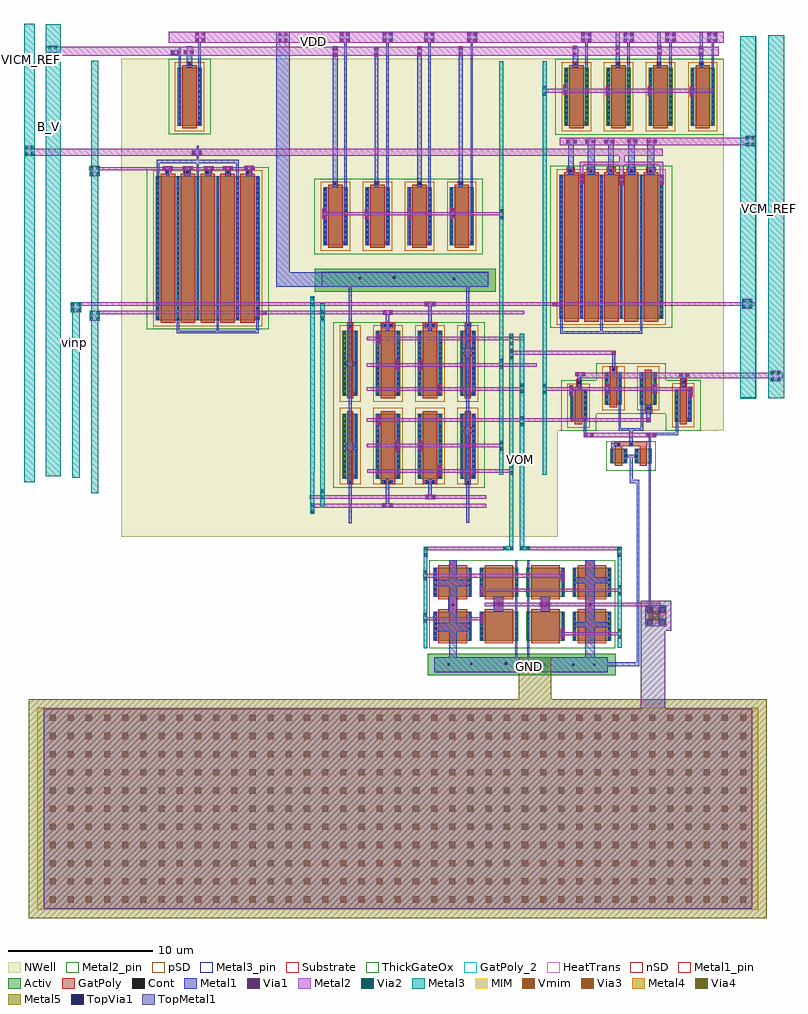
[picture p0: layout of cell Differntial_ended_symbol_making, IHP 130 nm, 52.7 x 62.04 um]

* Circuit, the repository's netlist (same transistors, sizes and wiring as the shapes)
* Extracted by KLayout with SG13G2 LVS runset on : 17/03/2026 11:29

.SUBCKT Differntial_ended_symbol_making GND vop VOM vinp vinm VDD VCM_REF
+ VICM_REF B_V
M$1 GND GND GND GND sg13_hv_nmos L=2u W=8u AS=2.72p AD=2.72p PS=18.72u PD=18.72u
M$2 vop \$2 GND GND sg13_hv_nmos L=2u W=4u AS=1.36p AD=1.36p PS=9.36u PD=9.36u
M$3 GND \$2 VOM GND sg13_hv_nmos L=2u W=4u AS=1.36p AD=1.36p PS=9.36u PD=9.36u
M$9 \$17 \$17 GND GND sg13_hv_nmos L=0.5u W=1u AS=0.34p AD=0.34p PS=2.68u
+ PD=2.68u
M$10 GND \$17 \$2 GND sg13_hv_nmos L=0.5u W=1u AS=0.34p AD=0.34p PS=2.68u
+ PD=2.68u
M$11 VDD VDD VDD VDD sg13_hv_pmos L=0.4u W=18u AS=6.12p AD=6.12p PS=38.72u
+ PD=38.72u
M$12 VOM vinp \$16 VDD sg13_hv_pmos L=1u W=9u AS=3.06p AD=3.06p PS=19.36u
+ PD=19.36u
M$13 \$16 vinm vop VDD sg13_hv_pmos L=1u W=9u AS=3.06p AD=3.06p PS=19.36u
+ PD=19.36u
M$15 \$24 VCM_REF \$2 VDD sg13_hv_pmos L=0.5u W=4.5u AS=1.53p AD=1.53p
+ PS=10.36u PD=10.36u
M$17 \$24 vop \$17 VDD sg13_hv_pmos L=0.5u W=2.25u AS=0.765p AD=0.765p PS=5.18u
+ PD=5.18u
M$18 \$17 VOM \$24 VDD sg13_hv_pmos L=0.5u W=2.25u AS=0.765p AD=0.765p PS=5.18u
+ PD=5.18u
M$23 \$16 B_V VDD VDD sg13_hv_pmos L=1u W=16u AS=5.44p AD=5.44p PS=34.72u
+ PD=34.72u
M$27 VICM_REF vinm vinm VDD sg13_hv_pmos L=1u W=50u AS=11p AD=11p PS=62.2u
+ PD=62.2u
M$32 vinp vinp VICM_REF VDD sg13_hv_pmos L=1u W=50u AS=11p AD=11p PS=62.2u
+ PD=62.2u
M$37 \$24 B_V VDD VDD sg13_hv_pmos L=1u W=16u AS=5.44p AD=5.44p PS=34.72u
+ PD=34.72u
M$41 B_V B_V VDD VDD sg13_hv_pmos L=1u W=4u AS=1.36p AD=1.36p PS=8.68u PD=8.68u
C$42 \$2 GND cap_cmim w=50u l=14u A=700p P=128u m=1
.ENDS Differntial_ended_symbol_making

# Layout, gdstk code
from math import pi, radians
import gdstk
lib = gdstk.Library(unit=1e-6, precision=1e-09)
def R(c, l, rs):  # rectangles x0, y0, x1, y1
    for r in rs: c.add(gdstk.rectangle(r[:2], r[2:], *l))
def A(c, l, x, y, w, h, nx, ny, dx, dy):  # array of equal rectangles
    R(c, l, [(x+i*dx, y+j*dy, x+i*dx+w, y+j*dy+h) for i in range(nx) for j in range(ny)])
def P(c, l, *ps):  # polygons
    for p in ps: c.add(gdstk.Polygon(p, *l))
Activ = (1, 0)
GatPoly = (5, 0)
GatPoly_2 = (5, 2)
Cont = (6, 0)
nSD = (7, 0)
Metal1 = (8, 0)
Metal1_pin = (8, 2)
Metal2 = (10, 0)
Metal2_pin = (10, 2)
pSD = (14, 0)
Via1 = (19, 0)
Via2 = (29, 0)
Metal3 = (30, 0)
Metal3_pin = (30, 2)
NWell = (31, 0)
MIM = (36, 0)
Substrate = (40, 0)
ThickGateOx = (44, 0)
Via3 = (49, 0)
Metal4 = (50, 0)
HeatTrans = (51, 0)
Via4 = (66, 0)
Metal5 = (67, 0)
TopVia1 = (125, 0)
TopMetal1 = (126, 0)
Vmim = (129, 0)

cmim_1 = lib.new_cell('cmim$1')
R(cmim_1, MIM, [(0,0,14,50)])
R(cmim_1, Metal5, [(-0.6,-0.6,14.6,50.6)])
R(cmim_1, TopMetal1, [(0.07,0.43,13.93,49.57)])
A(cmim_1, Vmim, 0.49, 0.85, 0.42, 0.42, 11, 39, 1.26, 1.26)

pmoshv_1 = lib.new_cell('pmosHV$1')
R(pmoshv_1, Activ, [(0,0,0.3,0.3), (0,0,1.68,4.5), (1.38,0,1.68,0.3)])
R(pmoshv_1, GatPoly, [(0.34,-0.18,1.34,4.68)])
R(pmoshv_1, GatPoly_2, [(0.34,-0.18,1.34,4.68)])
A(pmoshv_1, Cont, 0.07, 0.07, 0.16, 0.16, 1, 13, 0, 0.35)
A(pmoshv_1, Cont, 1.45, 0.07, 0.16, 0.16, 1, 13, 0, 0.35)
R(pmoshv_1, Metal1, [(0.07,0,0.23,4.5), (1.45,0,1.61,4.5)])
R(pmoshv_1, Metal1_pin, [(0.07,0,0.23,4.5), (1.45,0,1.61,4.5)])
R(pmoshv_1, pSD, [(-0.18,-0.4,1.86,4.9)])
R(pmoshv_1, NWell, [(-0.62,-0.62,2.3,5.12)])
R(pmoshv_1, Substrate, [(1.38,0,1.68,0.3)])
R(pmoshv_1, ThickGateOx, [(-0.62,-0.62,2.3,5.12)])
R(pmoshv_1, HeatTrans, [(0.34,-0.18,1.34,4.68)])
pmoshv_1.add(gdstk.Label('pmosHV', (0.84,2.25), layer=63, texttype=0))
pmoshv_1.add(gdstk.Label('pmos', (0.84,2.25), layer=51, texttype=0))

pmoshv = lib.new_cell('pmosHV')
R(pmoshv, Activ, [(0,0,0.3,0.3), (0,0,1.08,4.5), (0.78,0,1.08,0.3)])
R(pmoshv, GatPoly, [(0.34,-0.18,0.74,4.68)])
R(pmoshv, GatPoly_2, [(0.34,-0.18,0.74,4.68)])
A(pmoshv, Cont, 0.07, 0.07, 0.16, 0.16, 1, 13, 0, 0.35)
A(pmoshv, Cont, 0.85, 0.07, 0.16, 0.16, 1, 13, 0, 0.35)
R(pmoshv, Metal1, [(0.07,0,0.23,4.5), (0.85,0,1.01,4.5)])
R(pmoshv, Metal1_pin, [(0.07,0,0.23,4.5), (0.85,0,1.01,4.5)])
R(pmoshv, pSD, [(-0.18,-0.4,1.26,4.9)])
R(pmoshv, NWell, [(-0.62,-0.62,1.7,5.12)])
R(pmoshv, Substrate, [(0.78,0,1.08,0.3)])
R(pmoshv, ThickGateOx, [(-0.62,-0.62,1.7,5.12)])
R(pmoshv, HeatTrans, [(0.34,-0.18,0.74,4.68)])
pmoshv.add(gdstk.Label('pmosHV', (0.54,2.25), layer=63, texttype=0))
pmoshv.add(gdstk.Label('pmos', (0.54,2.25), layer=51, texttype=0))

via_stack = lib.new_cell('via_stack')
R(via_stack, Metal1, [(-0.145,-0.35,0.145,0.35)])
R(via_stack, Metal2, [(-0.145,-0.35,0.145,0.35)])
R(via_stack, Via1, [(-0.095,-0.3,0.095,-0.11), (-0.095,0.11,0.095,0.3)])

pmoshv_4 = lib.new_cell('pmosHV$4')
R(pmoshv_4, Activ, [(0,0,0.3,0.3), (0,0,1.68,4), (1.38,0,1.68,0.3)])
R(pmoshv_4, GatPoly, [(0.34,-0.18,1.34,4.18)])
R(pmoshv_4, GatPoly_2, [(0.34,-0.18,1.34,4.18)])
A(pmoshv_4, Cont, 0.07, 0.07, 0.16, 0.16, 1, 11, 0, 0.37)
A(pmoshv_4, Cont, 1.45, 0.07, 0.16, 0.16, 1, 11, 0, 0.37)
R(pmoshv_4, Metal1, [(0.07,0,0.23,4), (1.45,0,1.61,4)])
R(pmoshv_4, Metal1_pin, [(0.07,0,0.23,4), (1.45,0,1.61,4)])
R(pmoshv_4, pSD, [(-0.18,-0.4,1.86,4.4)])
R(pmoshv_4, NWell, [(-0.62,-0.62,2.3,4.62)])
R(pmoshv_4, Substrate, [(1.38,0,1.68,0.3)])
R(pmoshv_4, ThickGateOx, [(-0.62,-0.62,2.3,4.62)])
R(pmoshv_4, HeatTrans, [(0.34,-0.18,1.34,4.18)])
pmoshv_4.add(gdstk.Label('pmosHV', (0.84,2), layer=63, texttype=0))
pmoshv_4.add(gdstk.Label('pmos', (0.84,2), layer=51, texttype=0))

via_stack_1 = lib.new_cell('via_stack$1')
R(via_stack_1, Metal2, [(-0.145,-0.35,0.145,0.35)])
R(via_stack_1, Via2, [(-0.095,-0.3,0.095,-0.11), (-0.095,0.11,0.095,0.3)])
R(via_stack_1, Metal3, [(-0.145,-0.35,0.145,0.35)])

via_stack_6 = lib.new_cell('via_stack$6')
R(via_stack_6, Metal1, [(-0.145,-0.145,0.145,0.145)])
R(via_stack_6, Metal2, [(-0.145,-0.145,0.145,0.145)])
R(via_stack_6, Via1, [(-0.095,-0.095,0.095,0.095)])

pmoshv_3 = lib.new_cell('pmosHV$3')
R(pmoshv_3, Activ, [(0,0,0.3,0.3), (0,0,1.18,2.25), (0.88,0,1.18,0.3)])
R(pmoshv_3, GatPoly, [(0.34,-0.18,0.84,2.43)])
R(pmoshv_3, GatPoly_2, [(0.34,-0.18,0.84,2.43)])
A(pmoshv_3, Cont, 0.07, 0.07, 0.16, 0.16, 1, 6, 0, 0.39)
A(pmoshv_3, Cont, 0.95, 0.07, 0.16, 0.16, 1, 6, 0, 0.39)
R(pmoshv_3, Metal1, [(0.07,0,0.23,2.25), (0.95,0,1.11,2.25)])
R(pmoshv_3, Metal1_pin, [(0.07,0,0.23,2.25), (0.95,0,1.11,2.25)])
R(pmoshv_3, pSD, [(-0.18,-0.4,1.36,2.65)])
R(pmoshv_3, NWell, [(-0.62,-0.62,1.8,2.87)])
R(pmoshv_3, Substrate, [(0.88,0,1.18,0.3)])
R(pmoshv_3, ThickGateOx, [(-0.62,-0.62,1.8,2.87)])
R(pmoshv_3, HeatTrans, [(0.34,-0.18,0.84,2.43)])
pmoshv_3.add(gdstk.Label('pmosHV', (0.59,1.125), layer=63, texttype=0))
pmoshv_3.add(gdstk.Label('pmos', (0.59,1.125), layer=51, texttype=0))

nmoshv_2 = lib.new_cell('nmosHV$2')
R(nmoshv_2, Activ, [(0,0,0.3,0.3), (0,0,1.18,1), (0.88,0,1.18,0.3)])
R(nmoshv_2, GatPoly, [(0.34,-0.18,0.84,1.18)])
R(nmoshv_2, GatPoly_2, [(0.34,-0.18,0.84,1.18)])
A(nmoshv_2, Cont, 0.07, 0.07, 0.16, 0.16, 1, 3, 0, 0.35)
A(nmoshv_2, Cont, 0.95, 0.07, 0.16, 0.16, 1, 3, 0, 0.35)
R(nmoshv_2, Metal1, [(0.07,0,0.23,1), (0.95,0,1.11,1)])
R(nmoshv_2, Metal1_pin, [(0.07,0,0.23,1), (0.95,0,1.11,1)])
R(nmoshv_2, ThickGateOx, [(-0.27,-0.52,1.45,1.52)])
R(nmoshv_2, HeatTrans, [(0.34,-0.18,0.84,1.18)])
nmoshv_2.add(gdstk.Label('nmosHV', (0.59,0.5), layer=63, texttype=0))
nmoshv_2.add(gdstk.Label('nmosHV', (0.59,0.5), layer=51, texttype=0))

via_stack_7 = lib.new_cell('via_stack$7')
R(via_stack_7, Metal1, [(-0.35,-0.35,0.35,0.35)])
R(via_stack_7, Metal2, [(-0.35,-0.35,0.35,0.35)])
R(via_stack_7, Via1, [(-0.3,-0.3,-0.11,-0.11), (0.11,-0.3,0.3,-0.11), (-0.3,0.11,-0.11,0.3), (0.11,0.11,0.3,0.3)])

via_stack_8 = lib.new_cell('via_stack$8')
R(via_stack_8, Metal2, [(-0.35,-0.35,0.35,0.35)])
R(via_stack_8, Via2, [(-0.3,-0.3,-0.11,-0.11), (0.11,-0.3,0.3,-0.11), (-0.3,0.11,-0.11,0.3), (0.11,0.11,0.3,0.3)])
R(via_stack_8, Metal3, [(-0.35,-0.35,0.35,0.35)])

via_stack_2 = lib.new_cell('via_stack$2')
R(via_stack_2, Metal1, [(-0.35,-0.145,0.35,0.145)])
R(via_stack_2, Metal2, [(-0.35,-0.145,0.35,0.145)])
R(via_stack_2, Via1, [(-0.3,-0.095,-0.11,0.095), (0.11,-0.095,0.3,0.095)])

pmoshv_6 = lib.new_cell('pmosHV$6')
A(pmoshv_6, Activ, 0, 0, 0.3, 0.3, 6, 1, 1.38, 0)
R(pmoshv_6, Activ, [(0,0,7.2,10)])
A(pmoshv_6, GatPoly, 0.34, -0.18, 1, 10.36, 5, 1, 1.38, 0)
R(pmoshv_6, GatPoly_2, [(0.34,-0.18,1.34,10.18)])
A(pmoshv_6, Cont, 0.07, 0.07, 0.16, 0.16, 6, 4, 1.38, 0.345)
A(pmoshv_6, Cont, 0.07, 1.455, 0.16, 0.16, 6, 3, 1.38, 0.345)
A(pmoshv_6, Cont, 0.07, 2.495, 0.16, 0.16, 6, 4, 1.38, 0.345)
A(pmoshv_6, Cont, 0.07, 3.88, 0.16, 0.16, 6, 3, 1.38, 0.345)
A(pmoshv_6, Cont, 0.07, 4.92, 0.16, 0.16, 6, 4, 1.38, 0.345)
A(pmoshv_6, Cont, 0.07, 6.305, 0.16, 0.16, 6, 3, 1.38, 0.345)
A(pmoshv_6, Cont, 0.07, 7.345, 0.16, 0.16, 6, 4, 1.38, 0.345)
A(pmoshv_6, Cont, 0.07, 8.73, 0.16, 0.16, 6, 3, 1.38, 0.345)
A(pmoshv_6, Cont, 0.07, 9.77, 0.16, 0.16, 6, 1, 1.38, 0)
A(pmoshv_6, Metal1, 0.07, 0, 0.16, 10, 6, 1, 1.38, 0)
R(pmoshv_6, Metal1_pin, [(0.07,0,0.23,10), (1.45,0,1.61,10)])
R(pmoshv_6, pSD, [(-0.18,-0.4,7.38,10.4)])
R(pmoshv_6, NWell, [(-0.62,-0.62,7.82,10.62)])
R(pmoshv_6, Substrate, [(6.9,0,7.2,0.3)])
R(pmoshv_6, ThickGateOx, [(-0.62,-0.62,7.82,10.62)])
A(pmoshv_6, HeatTrans, 0.34, -0.18, 1, 10.36, 5, 1, 1.38, 0)
pmoshv_6.add(gdstk.Label('pmosHV', (0.84,5), layer=63, texttype=0))
pmoshv_6.add(gdstk.Label('pmos', (0.84,5), layer=51, texttype=0))
pmoshv_6.add(gdstk.Label('pmos', (2.22,5), layer=51, texttype=0))
pmoshv_6.add(gdstk.Label('pmos', (3.6,5), layer=51, texttype=0))
pmoshv_6.add(gdstk.Label('pmos', (4.98,5), layer=51, texttype=0))
pmoshv_6.add(gdstk.Label('pmos', (6.36,5), layer=51, texttype=0))

via_stack_4 = lib.new_cell('via_stack$4')
R(via_stack_4, Metal2, [(-0.35,-0.145,0.35,0.145)])
R(via_stack_4, Via2, [(-0.3,-0.095,-0.11,0.095), (0.11,-0.095,0.3,0.095)])
R(via_stack_4, Metal3, [(-0.35,-0.145,0.35,0.145)])

nmoshv = lib.new_cell('nmosHV')
R(nmoshv, Activ, [(0,0,0.3,0.3), (0,0,2.68,2), (2.38,0,2.68,0.3)])
R(nmoshv, GatPoly, [(0.34,-0.18,2.34,2.18)])
R(nmoshv, GatPoly_2, [(0.34,-0.18,2.34,2.18)])
A(nmoshv, Cont, 0.07, 0.07, 0.16, 0.16, 1, 6, 0, 0.34)
A(nmoshv, Cont, 2.45, 0.07, 0.16, 0.16, 1, 6, 0, 0.34)
R(nmoshv, Metal1, [(0.07,0,0.23,2), (2.45,0,2.61,2)])
R(nmoshv, Metal1_pin, [(0.07,0,0.23,2), (2.45,0,2.61,2)])
R(nmoshv, ThickGateOx, [(-0.27,-0.52,2.95,2.52)])
R(nmoshv, HeatTrans, [(0.34,-0.18,2.34,2.18)])
nmoshv.add(gdstk.Label('nmosHV', (1.34,1), layer=63, texttype=0))
nmoshv.add(gdstk.Label('nmosHV', (1.34,1), layer=51, texttype=0))

via_stack_10 = lib.new_cell('via_stack$10')
R(via_stack_10, Metal1, [(-0.35,-0.35,0.35,0.35)])
R(via_stack_10, Metal2, [(-0.35,-0.35,0.35,0.35)])
R(via_stack_10, Via1, [(-0.3,-0.3,-0.11,-0.11), (0.11,-0.3,0.3,-0.11), (-0.3,0.11,-0.11,0.3), (0.11,0.11,0.3,0.3)])
R(via_stack_10, Via2, [(-0.3,-0.3,-0.11,-0.11), (0.11,-0.3,0.3,-0.11), (-0.3,0.11,-0.11,0.3), (0.11,0.11,0.3,0.3)])
R(via_stack_10, Metal3, [(-0.35,-0.35,0.35,0.35)])
R(via_stack_10, Via3, [(-0.3,-0.3,-0.11,-0.11), (0.11,-0.3,0.3,-0.11), (-0.3,0.11,-0.11,0.3), (0.11,0.11,0.3,0.3)])
R(via_stack_10, Metal4, [(-0.35,-0.35,0.35,0.35)])
R(via_stack_10, Via4, [(-0.3,-0.3,-0.11,-0.11), (0.11,-0.3,0.3,-0.11), (-0.3,0.11,-0.11,0.3), (0.11,0.11,0.3,0.3)])
R(via_stack_10, Metal5, [(-0.73,-0.73,0.73,0.73), (-0.35,-0.35,0.35,0.35)])
R(via_stack_10, TopVia1, [(-0.63,-0.63,-0.21,-0.21), (0.21,-0.63,0.63,-0.21), (-0.63,0.21,-0.21,0.63), (0.21,0.21,0.63,0.63)])
R(via_stack_10, TopMetal1, [(-1.05,-1.05,1.05,1.05)])

via_stack_9 = lib.new_cell('via_stack$9')
R(via_stack_9, Metal1, [(-0.35,-0.35,0.35,0.35)])
R(via_stack_9, Metal2, [(-0.35,-0.35,0.35,0.35)])
R(via_stack_9, Via1, [(-0.3,-0.3,-0.11,-0.11), (0.11,-0.3,0.3,-0.11), (-0.3,0.11,-0.11,0.3), (0.11,0.11,0.3,0.3)])
R(via_stack_9, Via2, [(-0.3,-0.3,-0.11,-0.11), (0.11,-0.3,0.3,-0.11), (-0.3,0.11,-0.11,0.3), (0.11,0.11,0.3,0.3)])
R(via_stack_9, Metal3, [(-0.35,-0.35,0.35,0.35)])
R(via_stack_9, Via3, [(-0.3,-0.3,-0.11,-0.11), (0.11,-0.3,0.3,-0.11), (-0.3,0.11,-0.11,0.3), (0.11,0.11,0.3,0.3)])
R(via_stack_9, Metal4, [(-0.35,-0.35,0.35,0.35)])
R(via_stack_9, Via4, [(-0.3,-0.3,-0.11,-0.11), (0.11,-0.3,0.3,-0.11), (-0.3,0.11,-0.11,0.3), (0.11,0.11,0.3,0.3)])
R(via_stack_9, Metal5, [(-0.35,-0.35,0.35,0.35)])

differntial_ended_symbol = lib.new_cell('Differntial_ended_symbol_making')
R(differntial_ended_symbol, Activ, [(293.705,302.975,306.745,304.49), (285.895,329.575,298.435,331.195)])
R(differntial_ended_symbol, GatPoly, [(295.155,307.385,295.775,308.285), (304.685,307.39,305.305,308.315), (301.57,307.395,302.19,308.255), (298.3,307.575,298.945,308.255), (295.195,310.535,295.72,310.955), (304.65,310.57,305.29,310.95), (296.3,316.185,296.7,316.445), (288.14,316.225,288.54,316.445), (290.46,316.225,291.46,316.445), (293.38,316.225,294.38,316.445), (306.7,318.87,308.925,319.11), (306.7,319.105,308.925,319.21), (307.69,319.11,307.93,319.21), (308.77,321.135,309.275,321.63), (304.035,322.99,304.405,323.505), (304.06,322.99,304.385,323.43), (311.245,323.01,311.665,323.45), (311.245,323.375,311.665,323.535), (306.35,324.055,306.85,324.405), (288.14,327.045,288.54,327.48), (290.46,327.045,291.46,327.485), (293.38,327.045,294.38,327.485), (296.3,327.045,296.7,327.485), (287.14,336.995,287.475,337.255), (292.975,336.995,293.32,337.255), (295.805,336.995,296.185,337.245), (279.675,337.775,280.07,338.01), (275.52,337.78,275.92,338.065), (276.775,337.78,277.295,338.025), (278.245,337.78,278.775,338.03), (281.095,337.78,281.47,338.045), (307.53,337.87,308.14,338.22), (303.35,337.875,303.91,338.225), (304.745,337.875,305.33,338.23), (306.12,337.875,306.745,338.25), (308.855,337.875,309.53,338.2), (303.765,345.285,304.165,345.545), (306.745,345.285,307.06,345.525), (309.59,345.285,309.905,345.525), (277.015,345.29,277.395,345.54)])
P(differntial_ended_symbol, GatPoly, [(312.57,345.28),(312.57,345.285),(312.535,345.285),(312.535,345.525),(312.845,345.525),(312.845,345.285),(312.79,345.285),(312.79,345.28)],
  [(290.03,336.815),(290.03,336.995),(290.015,336.995),(290.015,337.25),(290.35,337.25),(290.35,336.995),(290.085,336.995),(290.085,336.815)])
R(differntial_ended_symbol, Cont, [(301.74,303.635,301.9,303.795), (305.19,303.635,305.35,303.795), (303.73,303.64,303.89,303.8), (295.09,303.66,295.25,303.82), (296.66,303.705,296.82,303.865), (299.075,303.715,299.235,303.875), (295.375,307.795,295.535,307.955), (304.905,307.8,305.065,307.96), (301.79,307.805,301.95,307.965), (298.55,307.865,298.71,308.025), (296.41,316.265,296.57,316.425), (296.41,316.265,296.57,316.425), (296.41,316.265,296.57,316.425), (296.41,316.265,296.57,316.425), (293.63,316.315,293.79,316.475), (293.63,316.315,293.79,316.475), (293.985,316.315,294.145,316.475), (293.985,316.315,294.145,316.475), (288.25,316.32,288.41,316.48), (288.25,316.32,288.41,316.48), (288.25,316.32,288.41,316.48), (288.25,316.32,288.41,316.48), (290.675,316.32,290.835,316.48), (291.03,316.32,291.19,316.48), (306.85,318.915,307.01,319.075), (307.735,318.95,307.895,319.11), (308.94,321.425,309.1,321.585), (304.135,323.21,304.295,323.37), (311.4,323.23,311.56,323.39), (306.53,324.155,306.69,324.315), (288.245,327.135,288.405,327.295), (288.245,327.135,288.405,327.295), (288.245,327.135,288.405,327.295), (288.245,327.135,288.405,327.295), (290.695,327.175,290.855,327.335), (290.695,327.175,290.855,327.335), (291.05,327.175,291.21,327.335), (291.05,327.175,291.21,327.335), (293.635,327.175,293.795,327.335), (293.635,327.175,293.795,327.335), (293.99,327.175,294.15,327.335), (293.99,327.175,294.15,327.335), (296.42,327.18,296.58,327.34), (295.455,330.395,295.615,330.555), (288.92,330.44,289.08,330.6), (291.3,330.495,291.46,330.655), (287.21,336.99,287.37,337.15), (290.09,337,290.25,337.16), (293.06,337,293.22,337.16), (295.915,337.005,296.075,337.165), (278.385,337.78,278.545,337.94), (279.78,337.78,279.94,337.94), (281.185,337.78,281.345,337.94), (276.97,337.785,277.13,337.945), (275.61,337.79,275.77,337.95), (303.535,337.87,303.695,338.03), (304.955,337.875,305.115,338.035), (306.335,337.88,306.495,338.04), (307.765,337.88,307.925,338.04), (309.095,337.88,309.255,338.04), (309.095,337.88,309.255,338.04), (303.88,345.285,304.04,345.445), (309.67,345.285,309.83,345.445), (312.61,345.285,312.77,345.445), (306.82,345.29,306.98,345.45), (277.115,345.295,277.275,345.455)])
R(differntial_ended_symbol, nSD, [(286.365,329.93,297.91,330.965)])
R(differntial_ended_symbol, Metal1, [(295.155,307.385,295.775,308.43), (304.685,307.39,305.305,308.435), (301.57,307.395,302.19,308.44), (298.3,307.4,298.945,308.435), (290.8,314.695,291.05,316.625), (293.76,315.205,294.01,316.625), (293.495,316.27,294.245,316.515), (293.495,316.27,294.245,316.515), (290.54,316.275,291.29,316.52), (304.54,319.655,304.7,320.56), (308.88,320.57,309.175,321.755), (304.095,322.81,304.325,323.97), (311.345,323.01,311.6,323.97), (306.5,324.055,306.725,325.485), (290.81,326.865,291.06,328.285), (293.75,326.865,294,328.795), (290.56,327.13,291.31,327.375), (290.56,327.13,291.31,327.375), (293.5,327.13,294.25,327.375), (293.5,327.13,294.25,327.375), (290.85,336.57,291.01,347.585), (293.765,336.585,293.925,347.6), (296.685,336.585,296.845,347.6), (287.925,336.59,288.085,347.605), (287.14,336.815,287.475,346.595), (290.05,336.815,290.275,346.59), (292.975,336.815,293.32,346.59), (295.855,336.82,296.13,346.585), (281.12,337.595,281.55,338.215), (275.6,337.6,275.775,338.155), (276.85,337.6,277.24,338.18), (278.32,337.6,278.695,338.17), (279.68,337.6,280.045,338.185), (303.45,337.695,303.83,340.265), (304.825,337.695,305.285,340.25), (306.245,337.695,306.635,340.265), (307.615,337.695,308.075,340.26), (308.93,337.695,309.42,340.25), (307.56,343.765,307.72,347.6), (304.64,344.295,304.8,347.6), (277.815,344.51,277.975,347.6), (313.41,344.515,313.57,347.6), (276.435,344.88,276.595,346.59), (310.48,345.035,310.64,347.6), (277.015,345.105,277.395,346.595), (303.765,345.105,304.165,346.575), (306.765,345.105,307.025,347.6), (312.57,345.105,312.79,345.375), (309.63,345.11,309.885,347.595), (312.57,345.28,312.79,347.595)])
P(differntial_ended_symbol, Metal1, [(309.03,318.46),(309.03,319.79),(310.92,319.79),(310.92,320.81),(311.08,320.81),(311.08,319.625),(309.19,319.625),(309.19,318.46)],
  [(307.69,318.87),(307.69,319.94),(306.96,319.94),(306.96,324.005),(307.12,324.005),(307.12,320.12),(308.5,320.12),(308.5,324.005),(308.66,324.005),(308.66,319.94),(307.93,319.94),(307.93,318.87)],
  [(302.92,326.66),(302.92,328.11),(303.08,328.11),(303.08,326.855),(305.68,326.855),(305.68,327.925),(305.84,327.925),(305.84,326.855),(308.44,326.855),(308.44,327.925),(308.6,327.925),(308.6,326.66)],
  [(276.315,326.7),(276.315,327.83),(276.475,327.83),(276.475,326.875),(279.075,326.875),(279.075,327.83),(279.235,327.83),(279.235,326.875),(281.835,326.875),(281.835,327.83),(281.995,327.83),(281.995,326.7)],
  [(288.235,313.545),(288.235,318.64),(287.875,318.64),(287.875,319.045),(288.235,319.045),(288.235,324.465),(287.87,324.465),(287.87,324.765),(288.235,324.765),(288.235,329.915),(283.22,329.915),(283.22,347.6),(284.135,347.6),(284.135,330.95),(297.925,330.95),(297.925,329.915),(296.595,329.915),(296.595,327.39),(296.725,327.39),(296.725,327.145),(296.595,327.145),(296.595,325.67),(296.945,325.67),(296.945,325.155),(296.595,325.155),(296.595,320.175),(296.905,320.175),(296.905,319.76),(296.595,319.76),(296.595,316.465),(296.7,316.465),(296.7,316.22),(296.595,316.22),(296.595,313.55),(296.395,313.55),(296.395,316.22),(296.3,316.22),(296.3,316.465),(296.395,316.465),(296.395,319.76),(296.05,319.76),(296.05,320.175),(296.395,320.175),(296.395,325.155),(296.065,325.155),(296.065,325.67),(296.395,325.67),(296.395,327.145),(296.28,327.145),(296.28,327.39),(296.395,327.39),(296.395,329.915),(288.435,329.915),(288.435,324.765),(288.81,324.765),(288.81,324.465),(288.435,324.465),(288.435,319.045),(288.765,319.045),(288.765,318.64),(288.435,318.64),(288.435,313.545)],
  [(306.43,318.46),(306.43,319.105),(307.075,319.105),(307.075,318.88),(306.59,318.88),(306.59,318.46)],
  [(277.695,337.18),(277.695,338.49),(275.095,338.49),(275.095,337.37),(274.935,337.37),(274.935,338.725),(277.695,338.725),(277.695,339.695),(277.855,339.695),(277.855,338.725),(280.61,338.725),(280.61,338.67),(280.615,338.67),(280.615,337.53),(280.455,337.53),(280.455,338.49),(277.855,338.49),(277.855,337.18)],
  [(309.03,306.77),(309.03,317.76),(309.19,317.76),(309.19,307.47),(309.215,307.47),(309.215,306.77)],
  [(294.165,303.21),(294.165,304.24),(295.195,304.24),(295.195,306.035),(294.205,306.035),(294.205,306.625),(295.195,306.625),(295.195,309.15),(294.175,309.15),(294.175,309.61),(295.195,309.61),(295.195,310.955),(295.72,310.955),(295.72,309.61),(296.62,309.61),(296.62,309.15),(295.72,309.15),(295.72,306.625),(296.62,306.625),(296.62,306.035),(295.72,306.035),(295.72,304.24),(299.775,304.24),(299.775,310.955),(299.935,310.955),(299.935,304.24),(300.615,304.24),(300.615,310.955),(300.775,310.955),(300.775,304.24),(304.65,304.24),(304.65,306.32),(303.93,306.32),(303.93,306.67),(304.65,306.67),(304.65,309.38),(303.9,309.38),(303.9,309.795),(304.65,309.795),(304.65,310.95),(305.29,310.95),(305.29,309.795),(306.34,309.795),(306.34,309.38),(305.29,309.38),(305.29,306.67),(306.32,306.67),(306.32,306.32),(305.29,306.32),(305.29,304.24),(306.215,304.24),(306.215,303.9),(308.225,303.9),(308.225,316.31),(307.715,316.31),(307.715,318.11),(307.31,318.11),(307.31,318.27),(308.31,318.27),(308.31,318.11),(307.935,318.11),(307.935,316.53),(308.4,316.53),(308.4,303.6),(306.215,303.6),(306.215,303.21)])
P(differntial_ended_symbol, Metal1_pin, [(309.03,306.77),(309.03,319.795),(309.19,319.795),(309.19,319.79),(310.92,319.79),(310.92,322.21),(311.08,322.21),(311.08,319.625),(309.19,319.625),(309.19,306.77)],
  [(294.165,303.21),(294.165,304.24),(295.195,304.24),(295.195,310.955),(295.72,310.955),(295.72,304.24),(299.775,304.24),(299.775,310.955),(299.935,310.955),(299.935,304.24),(300.615,304.24),(300.615,310.955),(300.775,310.955),(300.775,304.24),(306.215,304.24),(306.215,303.9),(308.225,303.9),(308.225,316.31),(307.715,316.31),(307.715,318.11),(307.31,318.11),(307.31,318.27),(308.31,318.27),(308.31,318.11),(307.935,318.11),(307.935,316.53),(308.4,316.53),(308.4,303.6),(306.215,303.6),(306.215,303.21)])
R(differntial_ended_symbol, Metal2, [(302.995,305.76,307.165,305.96), (293.435,306.8,297.555,307.01), (297.395,308.79,307.165,309), (293.435,309.75,303.155,310.02), (293.435,311.66,299.665,311.905), (300.095,311.66,307.165,311.905), (285.555,314.62,297.785,314.87), (285.55,315.225,297.78,315.475), (289.51,317.03,299.665,317.28), (289.5,318.795,298.955,319.045), (304.54,319.505,309.515,319.795), (289.495,320.57,309.175,320.82), (289.485,322.72,300.395,322.97), (301.705,322.72,311.96,322.97), (289.505,324.37,301.28,324.62), (299.365,325.225,306.725,325.485), (289.5,326.22,300.395,326.47), (270.325,328.02,300.395,328.27), (286.545,334.895,298.94,335.105), (270.245,338,281.71,338.22), (302.865,339.76,316.48,340.26), (301.705,343.37,313.57,343.645), (267.225,345.96,313.91,346.59), (275.745,346.865,314.245,347.6)])
P(differntial_ended_symbol, Metal2, [(304.3,337.465),(304.3,337.765),(304.265,337.765),(304.265,338.595),(307,338.595),(307,339),(265.72,339),(265.72,339.485),(310.02,339.485),(310.02,339),(307.375,339),(307.375,338.595),(310.04,338.595),(310.04,337.465),(309.82,337.465),(309.82,338.385),(307.3,338.385),(307.3,337.665),(307.22,337.665),(307.22,337.465),(307.06,337.465),(307.06,337.665),(307.01,337.665),(307.01,338.385),(304.5,338.385),(304.5,337.765),(304.46,337.765),(304.46,337.465)],
  [(304.095,323.58),(304.095,323.97),(318.345,323.97),(318.345,323.585),(316.48,323.585),(316.48,323.58)],
  [(309.185,306.77),(309.185,307.785),(297.67,307.785),(297.67,308.03),(309.895,308.03),(309.895,306.77)],
  [(269.055,328.605),(269.055,328.855),(316.49,328.855),(316.49,328.61),(297.835,328.61),(297.835,328.605)])
R(differntial_ended_symbol, Metal2_pin, [(267.225,345.96,313.91,346.59), (275.745,346.865,314.245,347.6)])
R(differntial_ended_symbol, pSD, [(294.165,303.21,306.215,304.24)])
R(differntial_ended_symbol, Metal3, [(293.435,304.87,293.68,311.905), (306.91,304.885,307.165,311.905), (299.365,311.66,299.665,326.675), (300.095,311.66,300.395,326.675), (286.28,314.695,286.58,328.79), (270.37,315.6,270.885,345.605), (269.055,316.675,269.57,328.855), (267.23,316.795,268.255,348.13), (298.69,316.895,298.94,345.58), (301.705,316.895,301.955,345.575), (315.385,322.15,316.49,347.31), (317.32,322.195,318.425,347.355)])
P(differntial_ended_symbol, Metal3, [(285.57,314.695),(285.57,328.79),(285.87,328.79),(285.87,317.145),(285.865,317.145),(285.865,314.695)],
  [(265.72,316.365),(265.72,348.17),(266.46,348.17),(266.46,332.155),(266.45,332.155),(266.45,316.365)])
R(differntial_ended_symbol, Metal3_pin, [(270.37,315.6,270.885,345.605), (269.055,316.675,269.57,328.855), (267.23,316.795,268.255,348.13), (317.32,322.195,318.425,347.355), (315.39,322.235,316.47,347.31)])
P(differntial_ended_symbol, NWell, [(272.48,312.595),(272.48,345.735),(314.26,345.735),(314.26,319.95),(313.73,319.95),(313.73,319.94),(302.74,319.94),(302.74,312.595)])
R(differntial_ended_symbol, Metal5, [(300.025,301.335,302.28,304.24)])
R(differntial_ended_symbol, TopMetal1, [(308.495,300.665,310.195,308.17)])
differntial_ended_symbol.add(gdstk.Reference(cmim_1, (316.645,286.735), rotation=pi/2))
differntial_ended_symbol.add(gdstk.Reference(pmoshv_1, (293.04,316.625)))
differntial_ended_symbol.add(gdstk.Reference(pmoshv, (295.96,316.625)))
differntial_ended_symbol.add(gdstk.Reference(via_stack, (294.57,317.215)))
differntial_ended_symbol.add(gdstk.Reference(pmoshv, (287.8,316.625)))
differntial_ended_symbol.add(gdstk.Reference(pmoshv_1, (290.12,316.625)))
differntial_ended_symbol.add(gdstk.Reference(pmoshv_4, (292.315,332.815)))
differntial_ended_symbol.add(gdstk.Reference(pmoshv_1, (290.12,322.365)))
differntial_ended_symbol.add(gdstk.Reference(via_stack, (303.675,322.735)))
differntial_ended_symbol.add(gdstk.Reference(via_stack, (306.145,322.84)))
differntial_ended_symbol.add(gdstk.Reference(via_stack, (311.505,323.82), rotation=pi/2))
differntial_ended_symbol.add(gdstk.Reference(via_stack_1, (301.835,322.845)))
differntial_ended_symbol.add(gdstk.Reference(via_stack_6, (306.615,325.355)))
differntial_ended_symbol.add(gdstk.Reference(via_stack_6, (309.03,320.685)))
differntial_ended_symbol.add(gdstk.Reference(pmoshv_3, (306.01,321.755)))
differntial_ended_symbol.add(gdstk.Reference(nmoshv_2, (308.08,317.69)))
differntial_ended_symbol.add(gdstk.Reference(nmoshv_2, (306.36,317.69)))
differntial_ended_symbol.add(gdstk.Reference(pmoshv_3, (303.59,320.56)))
differntial_ended_symbol.add(gdstk.Reference(pmoshv_3, (310.85,320.58)))
differntial_ended_symbol.add(gdstk.Reference(pmoshv_3, (308.43,321.755)))
differntial_ended_symbol.add(gdstk.Reference(via_stack_1, (300.24,322.89)))
differntial_ended_symbol.add(gdstk.Reference(via_stack_1, (300.245,320.595)))
differntial_ended_symbol.add(gdstk.Reference(via_stack_1, (299.51,317.255)))
differntial_ended_symbol.add(gdstk.Reference(via_stack_1, (299.51,325.235)))
differntial_ended_symbol.add(gdstk.Reference(via_stack, (311.945,322.645)))
differntial_ended_symbol.add(gdstk.Reference(via_stack, (293.19,318.915)))
differntial_ended_symbol.add(gdstk.Reference(via_stack_1, (298.81,318.905)))
differntial_ended_symbol.add(gdstk.Reference(via_stack, (293.19,324.535)))
differntial_ended_symbol.add(gdstk.Reference(via_stack_1, (298.81,324.585)))
differntial_ended_symbol.add(gdstk.Reference(via_stack, (304.305,323.86), rotation=pi/2))
differntial_ended_symbol.add(gdstk.Reference(via_stack, (309.22,319.65), rotation=pi/2))
differntial_ended_symbol.add(gdstk.Reference(pmoshv, (295.96,322.365)))
differntial_ended_symbol.add(gdstk.Reference(via_stack_7, (315.875,328.765), rotation=pi/2))
differntial_ended_symbol.add(gdstk.Reference(via_stack_8, (315.875,328.76), rotation=pi/2))
differntial_ended_symbol.add(gdstk.Reference(pmoshv_4, (306.11,341.105)))
differntial_ended_symbol.add(gdstk.Reference(via_stack, (292.44,335.005)))
differntial_ended_symbol.add(gdstk.Reference(via_stack_2, (309.245,340.01)))
differntial_ended_symbol.add(gdstk.Reference(via_stack_2, (307.9,340.02)))
differntial_ended_symbol.add(gdstk.Reference(via_stack, (304.4,337.415)))
differntial_ended_symbol.add(gdstk.Reference(via_stack_2, (306.31,339.98)))
differntial_ended_symbol.add(gdstk.Reference(via_stack, (307.155,337.32)))
differntial_ended_symbol.add(gdstk.Reference(via_stack_2, (305,340.005)))
differntial_ended_symbol.add(gdstk.Reference(via_stack, (309.925,337.34)))
differntial_ended_symbol.add(gdstk.Reference(via_stack_2, (303.69,339.99)))
differntial_ended_symbol.add(gdstk.Reference(pmoshv_4, (311.95,341.105)))
differntial_ended_symbol.add(gdstk.Reference(pmoshv_4, (303.19,341.105)))
differntial_ended_symbol.add(gdstk.Reference(via_stack, (293.155,346.26)))
differntial_ended_symbol.add(gdstk.Reference(via_stack, (296,346.26)))
differntial_ended_symbol.add(gdstk.Reference(via_stack_2, (302.73,328.725)))
differntial_ended_symbol.add(gdstk.Reference(via_stack_2, (293.875,328.73)))
differntial_ended_symbol.add(gdstk.Reference(via_stack_1, (298.83,334.965)))
differntial_ended_symbol.add(gdstk.Reference(pmoshv_4, (295.235,332.815)))
differntial_ended_symbol.add(gdstk.Reference(via_stack_7, (296.795,347.23)))
differntial_ended_symbol.add(gdstk.Reference(via_stack_7, (293.815,347.245)))
differntial_ended_symbol.add(gdstk.Reference(via_stack, (295.405,335.025)))
differntial_ended_symbol.add(gdstk.Reference(via_stack_8, (316.075,340.04), rotation=pi/2))
differntial_ended_symbol.add(gdstk.Reference(via_stack, (303.93,346.28)))
differntial_ended_symbol.add(gdstk.Reference(via_stack, (306.885,346.28)))
differntial_ended_symbol.add(gdstk.Reference(via_stack, (309.785,346.29)))
differntial_ended_symbol.add(gdstk.Reference(via_stack, (312.675,346.275)))
differntial_ended_symbol.add(gdstk.Reference(via_stack_7, (304.72,347.235)))
differntial_ended_symbol.add(gdstk.Reference(via_stack_7, (307.645,347.22)))
differntial_ended_symbol.add(gdstk.Reference(via_stack_7, (310.555,347.235)))
differntial_ended_symbol.add(gdstk.Reference(via_stack_7, (313.46,347.215)))
differntial_ended_symbol.add(gdstk.Reference(pmoshv_6, (302.85,327.695)))
differntial_ended_symbol.add(gdstk.Reference(via_stack, (303.275,343.585)))
differntial_ended_symbol.add(gdstk.Reference(via_stack, (309.12,343.485)))
differntial_ended_symbol.add(gdstk.Reference(via_stack, (312.045,343.465)))
differntial_ended_symbol.add(gdstk.Reference(via_stack, (306.195,343.475)))
differntial_ended_symbol.add(gdstk.Reference(via_stack_1, (301.815,343.515)))
differntial_ended_symbol.add(gdstk.Reference(via_stack, (304.89,319.65), rotation=pi/2))
differntial_ended_symbol.add(gdstk.Reference(pmoshv_4, (309.03,341.105)))
differntial_ended_symbol.add(gdstk.Reference(via_stack_8, (317.835,323.74)))
differntial_ended_symbol.add(gdstk.Reference(pmoshv_1, (293.04,322.365)))
differntial_ended_symbol.add(gdstk.Reference(via_stack, (294.575,322.85)))
differntial_ended_symbol.add(gdstk.Reference(via_stack_1, (299.515,326.23)))
differntial_ended_symbol.add(gdstk.Reference(via_stack, (309.475,322.845)))
differntial_ended_symbol.add(gdstk.Reference(via_stack_2, (276.245,346.18)))
differntial_ended_symbol.add(gdstk.Reference(via_stack_2, (279.855,338.145)))
differntial_ended_symbol.add(gdstk.Reference(via_stack_2, (277.08,338.15)))
differntial_ended_symbol.add(gdstk.Reference(via_stack_7, (290.94,347.25)))
differntial_ended_symbol.add(gdstk.Reference(via_stack_8, (267.695,346.31)))
differntial_ended_symbol.add(gdstk.Reference(via_stack_2, (275.7,338.13)))
differntial_ended_symbol.add(gdstk.Reference(via_stack_7, (287.965,347.24)))
differntial_ended_symbol.add(gdstk.Reference(via_stack, (286.555,335.005)))
differntial_ended_symbol.add(gdstk.Reference(via_stack, (287.305,346.225)))
differntial_ended_symbol.add(gdstk.Reference(via_stack, (290.145,346.235)))
differntial_ended_symbol.add(gdstk.Reference(via_stack, (289.48,334.945)))
differntial_ended_symbol.add(gdstk.Reference(via_stack_8, (270.62,337.955)))
differntial_ended_symbol.add(gdstk.Reference(via_stack_2, (278.545,338.145)))
differntial_ended_symbol.add(gdstk.Reference(via_stack_2, (290.935,328.145)))
differntial_ended_symbol.add(gdstk.Reference(pmoshv_6, (274.865,327.6)))
differntial_ended_symbol.add(gdstk.Reference(via_stack_2, (277.135,346.195)))
differntial_ended_symbol.add(gdstk.Reference(via_stack_7, (283.67,347.225), rotation=pi/2))
differntial_ended_symbol.add(gdstk.Reference(via_stack_1, (286.43,327.935)))
differntial_ended_symbol.add(gdstk.Reference(pmoshv_4, (289.395,332.815)))
differntial_ended_symbol.add(gdstk.Reference(via_stack_2, (281.35,338.175)))
differntial_ended_symbol.add(gdstk.Reference(pmoshv_4, (286.475,332.815)))
differntial_ended_symbol.add(gdstk.Reference(via_stack_2, (282.19,328.135)))
differntial_ended_symbol.add(gdstk.Reference(via_stack, (290.27,326.32)))
differntial_ended_symbol.add(gdstk.Reference(pmoshv, (287.8,322.365)))
differntial_ended_symbol.add(gdstk.Reference(via_stack, (291.65,324.545)))
differntial_ended_symbol.add(gdstk.Reference(via_stack, (290.27,320.67)))
differntial_ended_symbol.add(gdstk.Reference(via_stack, (291.655,318.91)))
differntial_ended_symbol.add(gdstk.Reference(via_stack_1, (285.72,328.93)))
differntial_ended_symbol.add(gdstk.Reference(via_stack_8, (266.085,339.36), rotation=pi/2))
differntial_ended_symbol.add(gdstk.Reference(via_stack_2, (277.69,339.24)))
differntial_ended_symbol.add(gdstk.Reference(via_stack_8, (270.615,327.93)))
differntial_ended_symbol.add(gdstk.Reference(via_stack_7, (277.955,347.27)))
differntial_ended_symbol.add(gdstk.Reference(via_stack_8, (269.325,328.51)))
differntial_ended_symbol.add(gdstk.Reference(pmoshv_4, (276.365,341.11)))
differntial_ended_symbol.add(gdstk.Reference(via_stack_1, (286.43,315.55)))
differntial_ended_symbol.add(gdstk.Reference(via_stack_1, (285.72,314.555)))
differntial_ended_symbol.add(gdstk.Reference(via_stack_2, (290.925,314.765)))
differntial_ended_symbol.add(gdstk.Reference(via_stack_4, (299.315,311.805)))
differntial_ended_symbol.add(gdstk.Reference(nmoshv, (294.105,308.435)))
differntial_ended_symbol.add(gdstk.Reference(via_stack_10, (309.545,307.12)))
differntial_ended_symbol.add(gdstk.Reference(via_stack_9, (301.09,303.725)))
differntial_ended_symbol.add(gdstk.Reference(via_stack_1, (293.555,306.975)))
differntial_ended_symbol.add(gdstk.Reference(via_stack_1, (293.555,309.915)))
differntial_ended_symbol.add(gdstk.Reference(via_stack_1, (307.04,305.86)))
differntial_ended_symbol.add(gdstk.Reference(via_stack_1, (293.58,311.555)))
differntial_ended_symbol.add(gdstk.Reference(via_stack, (297.46,306.9)))
differntial_ended_symbol.add(gdstk.Reference(nmoshv, (294.105,305.395)))
differntial_ended_symbol.add(gdstk.Reference(via_stack, (297.46,308.895)))
differntial_ended_symbol.add(gdstk.Reference(via_stack, (297.46,308.895)))
differntial_ended_symbol.add(gdstk.Reference(via_stack, (297.46,308.895)))
differntial_ended_symbol.add(gdstk.Reference(nmoshv, (297.325,308.435)))
differntial_ended_symbol.add(gdstk.Reference(nmoshv, (300.545,308.435)))
differntial_ended_symbol.add(gdstk.Reference(nmoshv, (297.325,305.395)))
differntial_ended_symbol.add(gdstk.Reference(via_stack, (297.46,308.895)))
differntial_ended_symbol.add(gdstk.Reference(via_stack, (297.46,308.895)))
differntial_ended_symbol.add(gdstk.Reference(nmoshv, (303.765,305.395)))
differntial_ended_symbol.add(gdstk.Reference(via_stack, (303.09,305.86)))
differntial_ended_symbol.add(gdstk.Reference(nmoshv, (303.765,308.435)))
differntial_ended_symbol.add(gdstk.Reference(via_stack, (303.08,309.885)))
differntial_ended_symbol.add(gdstk.Reference(via_stack_2, (293.885,315.35)))
differntial_ended_symbol.add(gdstk.Reference(via_stack_2, (301.85,307.9)))
differntial_ended_symbol.add(gdstk.Reference(via_stack_2, (298.625,307.915)))
differntial_ended_symbol.add(gdstk.Reference(via_stack_1, (307.04,308.895)))
differntial_ended_symbol.add(gdstk.Reference(via_stack_1, (307.02,311.555)))
differntial_ended_symbol.add(gdstk.Reference(nmoshv, (300.545,305.395)))
differntial_ended_symbol.add(gdstk.Reference(via_stack_4, (300.445,311.805)))
differntial_ended_symbol.add(gdstk.Label('VDD', (285.79,346.955), layer=10, texttype=25))
differntial_ended_symbol.add(gdstk.Label('B_V', (267.42,341.015), layer=30, texttype=25))
differntial_ended_symbol.add(gdstk.Label('VOM', (300.175,317.96), layer=30, texttype=25))
differntial_ended_symbol.add(gdstk.Label('vinp', (269.2,326.075), layer=30, texttype=25))
differntial_ended_symbol.add(gdstk.Label('vinm', (270.535,325.995), layer=30, texttype=25))
differntial_ended_symbol.add(gdstk.Label('VCM_REF', (317.415,335.34), layer=30, texttype=25))
differntial_ended_symbol.add(gdstk.Label('vop', (299.43,318.72), layer=30, texttype=25))
differntial_ended_symbol.add(gdstk.Label('VICM_REF', (265.975,345.69), layer=30, texttype=25))
differntial_ended_symbol.add(gdstk.Label('GND', (300.75,303.62), layer=8, texttype=25))

lib.write_gds('Differntial_ended_symbol_making.gds')
